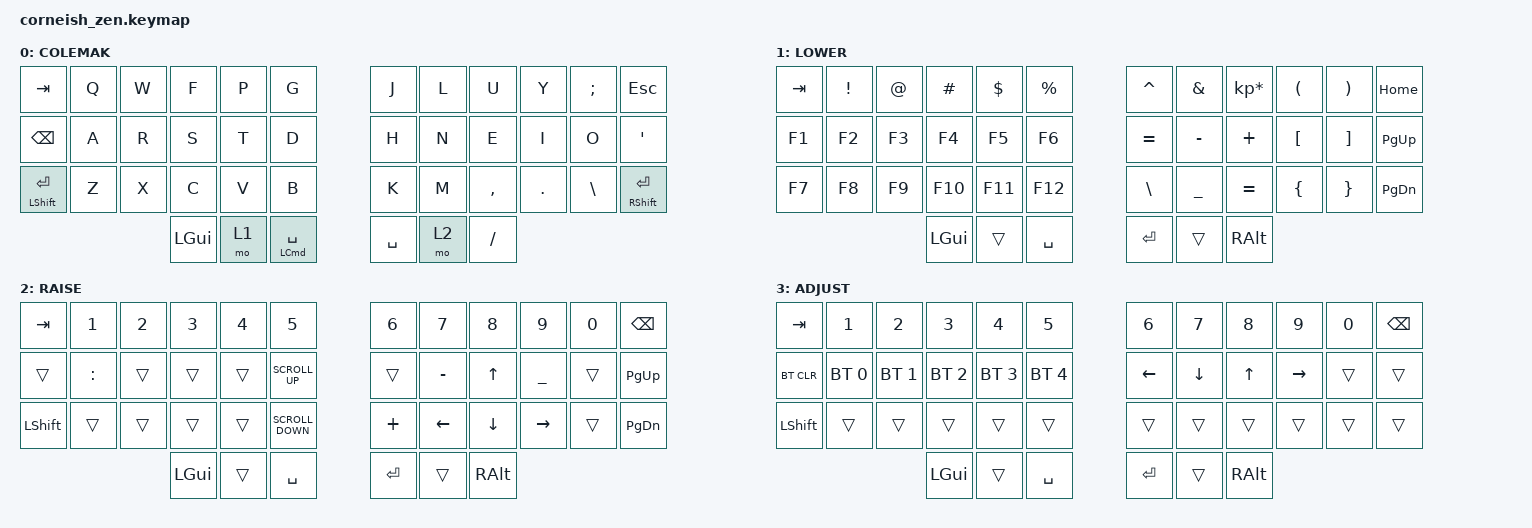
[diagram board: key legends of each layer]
#include <behaviors.dtsi>
#include <dt-bindings/zmk/keys.h>
#include <dt-bindings/zmk/bt.h>

/ {
  chosen {
    zmk,matrix_transform = &default_transform;
    //zmk,matrix_transform = &five_column_transform;
  };
};        

/ {
    conditional_layers {
        compatible = "zmk,conditional-layers";
        tri_layer {
            if-layers = <1 2>;
            then-layer = <3>;
        };
    };
};


/ {
        keymap {
                compatible = "zmk,keymap";

                default_layer {
                        label = "COLEMAK";
// -----------------------------------------------------------------------------------------
// |  TAB |  Q  |  W  |  E  |  R  |  T  |   |  Y  |  U   |  I  |  O  |  P  | BKSP |
// | CTRL |  A  |  S  |  D  |  F  |  G  |   |  H  |  J   |  K  |  L  |  ;  |  '   |
// | SHFT |  Z  |  X  |  C  |  V  |  B  |   |  N  |  M   |  ,  |  .  |  /  | ESC  |
//                    | GUI | LWR | SPC |   | ENT | RSE  | ALT |
                        bindings = <
   &kp TAB   &kp Q &kp W &kp F &kp P &kp G   &kp J &kp L  &kp U     &kp Y   &kp SEMI    &kp ESC
   &kp BSPC &kp A &kp R &kp S &kp T &kp D   &kp H &kp N  &kp E     &kp I   &kp O &kp SQT
   &mt LSHFT RET &kp Z &kp X &kp C &kp V &kp B   &kp K &kp M  &kp COMMA &kp DOT &kp BSLH &mt RSHFT RET
                  &kp LGUI &mo 1 &mt LCMD SPACE   &kp SPACE &mo 2 &kp FSLH
                        >;
                };
                
                lower_layer {
                        label = "LOWER";
// -----------------------------------------------------------------------------------------
// |  TAB |  1  |  2  |  3  |  4  |  5  |   |  6  |  7  |  8  |  9  |  0  | BKSP |
// | BTCLR| BT1 | BT2 | BT3 | BT4 | BT5 |   | LFT | DWN |  UP | RGT |     |      |
// | SHFT |     |     |     |     |     |   |     |     |     |     |     |      |
//                    | GUI |     | SPC |   | ENT |     | ALT |
                        bindings = <
   &kp TAB &kp EXCL &kp AT &kp HASH &kp DLLR &kp PRCNT  &kp CARET &kp AMPS  &kp KP_MULTIPLY &kp LPAR &kp RPAR &kp HOME
   &kp F1  &kp F2   &kp F3 &kp F4   &kp F5   &kp F6     &kp EQUAL &kp MINUS &kp PLUS        &kp LBKT &kp RBKT &kp PG_UP 
   &kp F7  &kp F8   &kp F9 &kp F10  &kp F11  &kp F12    &kp BSLH  &kp UNDER &kp EQUAL       &kp LBRC &kp RBRC &kp PG_DN
                             &kp LGUI &trans   &kp SPACE   &kp RET   &trans    &kp RALT
                        >;
                };

                raise_layer {
                        label = "RAISE";
// -----------------------------------------------------------------------------------------
// |  TAB |  !  |  @  |  #  |  $  |  %  |   |  ^  |  &  |  *  |  (  |  )  | BKSP |
// | CTRL |     |     |     |     |     |   |  -  |  =  |  [  |  ]  |  \  |  `   |
// | SHFT |     |     |     |     |     |   |  _  |  +  |  {  |  }  | "|" |  ~   |
//                    | GUI |     | SPC |   | ENT |     | ALT |
                        bindings = <
   &kp TAB    &kp N1      &kp N2          &kp N3          &kp N4            &kp N5              &kp N6    &kp N7    &kp N8   &kp N9     &kp N0  &kp BSPC
   &trans     &kp COLON   &trans       &trans    &trans         &kp K_SCROLL_UP      &trans    &kp MINUS &kp UP       &kp UNDERSCORE  &trans  &kp PG_UP
   &kp LSHFT  &trans      &trans  &trans  &trans   &kp K_SCROLL_DOWN    &kp PLUS  &kp LEFT  &kp DOWN &kp RIGHT  &trans  &kp PG_DN
                                          &kp LGUI        &trans            &kp SPACE           &kp RET   &trans    &kp RALT
                        >;
                };
        

                adjust_layer {
                        label = "ADJUST";
// -----------------------------------------------------------------------------------------
// |  TAB |  !  |  @  |  #  |  $  |  %  |   |  ^  |  &  |  *  |  (  |  )  | BKSP |
// | CTRL |     |     |     |     |     |   |  -  |  =  |  [  |  ]  |  \  |  `   |
// | SHFT |     |     |     |     |     |   |  _  |  +  |  {  |  }  | "|" |  ~   |
//                    | GUI |     | SPC |   | ENT |     | ALT |
                        bindings = <
   &kp TAB    &kp N1       &kp N2       &kp N3       &kp N4       &kp N5         &kp N6   &kp N7   &kp N8 &kp N9    &kp N0 &kp BSPC
   &bt BT_CLR &bt BT_SEL 0 &bt BT_SEL 1 &bt BT_SEL 2 &bt BT_SEL 3 &bt BT_SEL 4   &kp LEFT &kp DOWN &kp UP &kp RIGHT &trans &trans
   &kp LSHFT  &trans       &trans       &trans       &trans       &trans         &trans   &trans   &trans &trans    &trans &trans
                                    &kp LGUI     &trans       &kp SPACE      &kp RET  &trans   &kp RALT
                        >;
                }; 
        };     
};
